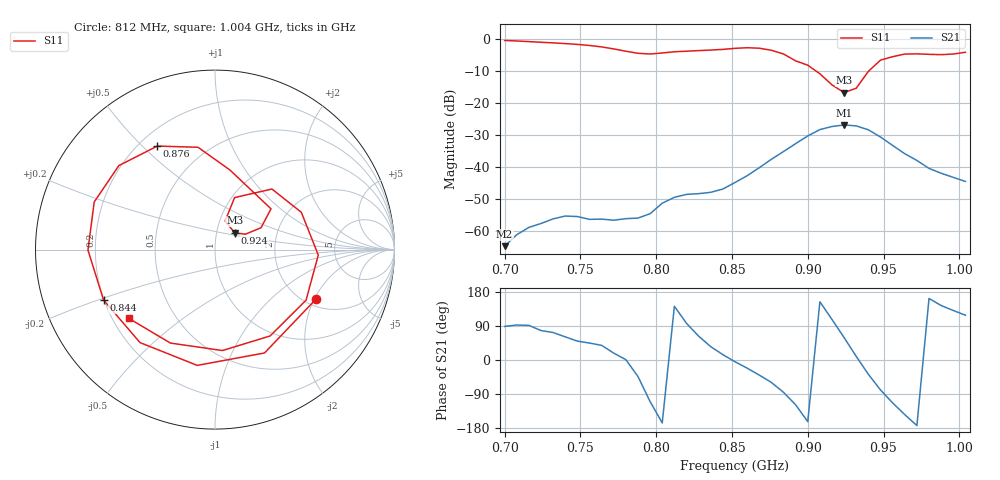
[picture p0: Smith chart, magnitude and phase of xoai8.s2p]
# Hz S RI R 50
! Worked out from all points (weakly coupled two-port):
!   39 points, 700 MHz to 1.004 GHz, reference 50 ohm
!   highest |S21| = -26.94 dB at 924 MHz (marker M1); lowest = -64.8 dB at 700 MHz (marker M2)
!   lowest |S11| = -16.8 dB at 924 MHz (marker M3), VSWR 1.34, Z = 61.1 + j11.7 ohm
!   |S11| at or under -10 dB: 905.2 MHz to 940.4 MHz (35.23 MHz wide, 3.82 % of centre)
!   S12 and S22 are empty: the file has one direction only
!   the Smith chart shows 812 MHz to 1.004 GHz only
!   S11 on the Smith chart (normalised r, x): 812 MHz: 2.26, -2.06; 844 MHz: 0.20, -0.21; 876 MHz: 0.27, +0.55; 924 MHz: 1.22, +0.23; 1.004 GHz: 0.27, -0.33
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7e8  0.7589 0.5541  1.36e-05 0.000575  0 0  0 0
7.24e8  0.8454 -0.248  0.000277 0.00127  0 0  0 0
7.4e8  0.4601 -0.7023  0.000824 0.00149  0 0  0 0
7.56e8  -0.1901 -0.7609  0.00107 0.00106  0 0  0 0
7.72e8  -0.6618 -0.2077  0.00139 0.000457  0 0  0 0
7.8e8  -0.5989 0.2206  0.00155 2.44e-05  0 0  0 0
7.88e8  -0.2542 0.5347  0.00115 -0.00109  0 0  0 0
7.96e8  0.2329 0.5281  -0.000627 -0.00174  0 0  0 0
8.04e8  0.5706 0.1817  -0.00262 -0.000649  0 0  0 0
8.12e8  0.5616 -0.277  -0.00262 0.00206  0 0  0 0
8.28e8  -0.0993 -0.6452  0.00173 0.00339  0 0  0 0
8.44e8  -0.6206 -0.2812  0.00436 0.00109  0 0  0 0
8.52e8  -0.7077 -0.00309  0.00566 -0.000455  0 0  0 0
8.76e8  -0.3215 0.5768  0.00671 -0.0112  0 0  0 0
9e8  0.3121 0.2271  -0.0289 -0.00902  0 0  0 0
9.08e8  0.2564 0.1217  -0.0341 0.0169  0 0  0 0
9.24e8  0.1095 0.0937  0.0231 0.0386  0 0  0 0
9.4e8  0.1092 0.2899  0.0299 -0.0232  0 0  0 0
9.56e8  0.481 0.2078  -0.00849 -0.0198  0 0  0 0
9.64e8  0.5755 -0.0301  -0.013 -0.00938  0 0  0 0
9.8e8  0.3072 -0.4811  -0.00899 0.00286  0 0  0 0
1.004e9  -0.4805 -0.3828  -0.0028 0.0052  0 0  0 0
